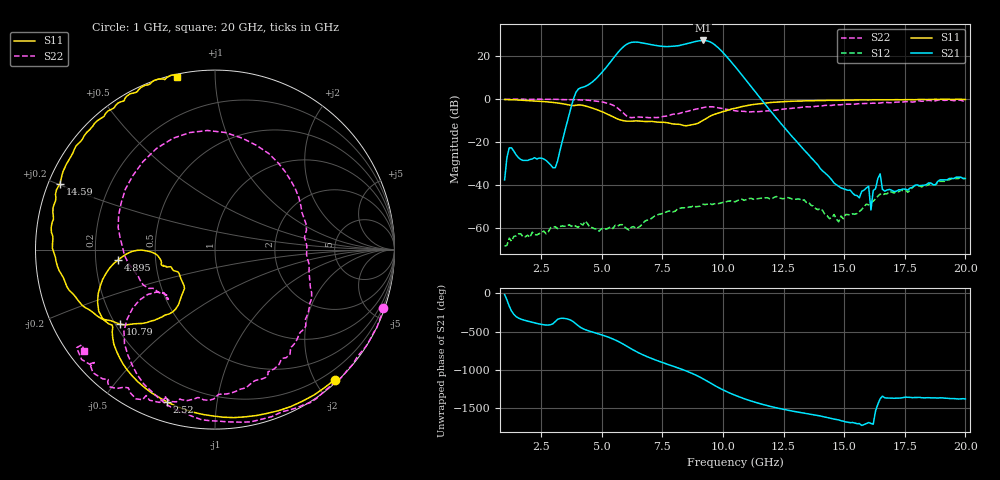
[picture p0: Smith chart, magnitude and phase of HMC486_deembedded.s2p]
!Hittite Microwave Corporation
!20 Alpha Road
!Chelmsford, MA 01824
!Tel: 978-250-3343
!Fax: 978-250-3373
!Device: HMC486, 7-9 GHz, GaAS PHEMT MMIC 2 Watt Power Amplifier Die
!Misc: Vdd1,2,3,4,5 = +7 V, Idd = 1300 mA, Room
# MHZ S MA R 50
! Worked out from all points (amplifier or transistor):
!   201 points, 1 GHz to 20 GHz, reference 50 ohm
!   highest |S21| = 27.5 dB at 9.17 GHz (marker M1)
!   |S21| within 3 dB of that: 5.895 GHz to 9.767 GHz (3.872 GHz wide, 49.4 % of centre)
!   unconditionally stable (mu >= 1): start of sweep to 1.333 GHz; 1.432 GHz to 2.321 GHz; 3.043 GHz to 19.05 GHz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
!   at 4.135 GHz: K = 7.51, MAG = 20.1 dB, |S12| = -58.3 dB
!   at 10.5 GHz: K = 9.80, MAG = 18.8 dB, |S12| = -48.0 dB
!   at 20 GHz: K = 14.68, MAG = -14.7 dB, |S12| = -37.1 dB
!   S11 on the Smith chart (normalised r, x): 1 GHz: 0.05, -2.28; 2.52 GHz: 0.09, -0.73; 4.895 GHz: 0.30, -0.05; 10.79 GHz: 0.22, -0.33; 14.59 GHz: 0.03, +0.20; 20 GHz: 0.01, +0.80
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1000  0.985 -47.4  0.013 -14.6  0.000366 -82.3  0.99 -19.0
2520  0.889 -107.6  0.042 -45.3  0.000758 -80.9  0.997 -47.9
4230  0.717 -155.8  1.911 -100.8  0.001146 -84.1  0.956 -88.6
4895  0.543 -173.9  3.578 -171.0  0.0008186 -73.9  0.884 -110.9
5465  0.387 -179.1  8.814 124.7  0.0009427 -58.7  0.728 -133.8
5845  0.32 -173.8  15.79 65.5  0.001169 -54.6  0.506 -146.2
6225  0.307 -166.1  21.3 -4.6  0.001016 -42.2  0.371 -136.8
6700  0.304 -163.2  20.61 -82.4  0.001251 -15.4  0.378 -134.8
7365  0.29 -161.1  17.64 -166.9  0.002037 -9.1  0.376 -140.0
7840  0.272 -159.4  17.18 140.8  0.002456 -10.3  0.428 -149.6
8410  0.241 -149.0  19.16 76.1  0.002896 -9.6  0.505 -176.2
8885  0.264 -130.9  22.51 12.4  0.003053 -5.8  0.584 153.5
9170  0.318 -125.9  23.66 -33.9  0.003489 -10.9  0.633 129.4
9455  0.397 -123.5  22.11 -85.3  0.003676 -1.7  0.667 102.1
9740  0.459 -127.4  17.27 -137.2  0.003622 -3.1  0.639 76.2
10120  0.534 -131.8  10.46 161.8  0.003973 -7.4  0.584 48.0
10500  0.613 -137.5  5.854 109.4  0.003994 -9.4  0.537 27.0
10785  0.673 -141.9  3.674 74.6  0.00459 -13.9  0.527 15.8
13730  0.92 168.3  0.038 -146.1  0.003207 -41.4  0.672 -46.5
14585  0.938 157.0  0.011 157.1  0.002019 21.4  0.733 -60.9
16865  0.966 130.0  0.007779 72.6  0.006967 75.3  0.83 -95.7
20000  0.982 102.4  0.014 61.1  0.014 62.8  0.921 -142.2
